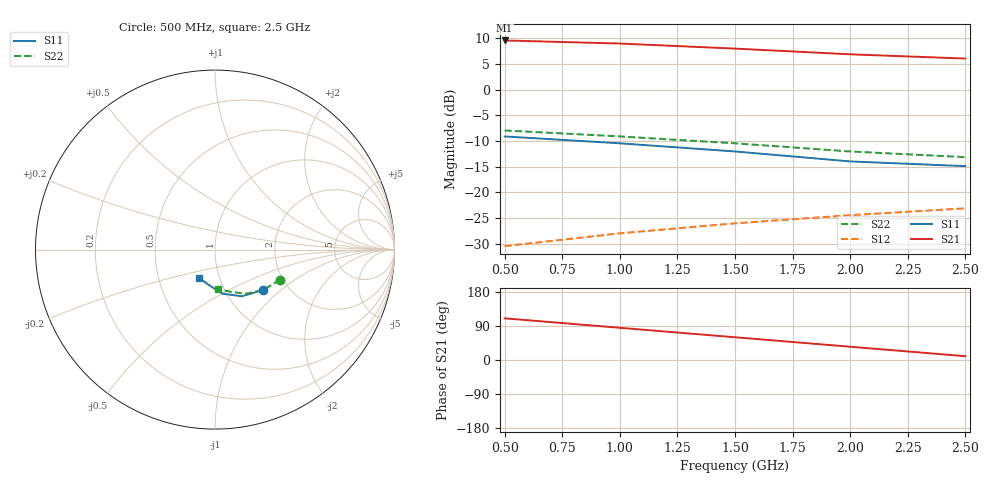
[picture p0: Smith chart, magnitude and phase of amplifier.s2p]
! Synthetic two-port amplifier and noise example.
! Order: frequency, S11, S21, S12, S22.
# GHz S MA R 50
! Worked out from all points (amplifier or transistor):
!   5 points, 500 MHz to 2.5 GHz, reference 50 ohm
!   highest |S21| = 9.5 dB at 500 MHz (marker M1)
!   |S21| within 3 dB of that: start of sweep to 2.185 GHz
!   unconditionally stable (mu >= 1): start of sweep to end of sweep
!   at 500 MHz: K = 4.27, MAG = 10.7 dB, |S12| = -30.5 dB
!   at 1.5 GHz: K = 3.51, MAG = 8.6 dB, |S12| = -26.0 dB
!   at 2.5 GHz: K = 3.35, MAG = 6.4 dB, |S12| = -23.1 dB
!   lowest NFmin = 1.00 dB at 500 MHz
0.5  0.35 -40.0  3 110.0  0.03 30.0  0.4 -25.0
1  0.3 -60.0  2.8 85.0  0.04 40.0  0.35 -40.0
1.5  0.25 -80.0  2.5 60.0  0.05 50.0  0.3 -55.0
2  0.2 -100.0  2.2 35.0  0.06 60.0  0.25 -70.0
2.5  0.18 -120.0  2 10.0  0.07 70.0  0.22 -85.0
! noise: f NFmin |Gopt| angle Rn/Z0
0.5  1  0.35  30  0.2
1  1.2  0.3  40  0.18
1.5  1.4  0.25  50  0.16
2  1.6  0.2  60  0.15
